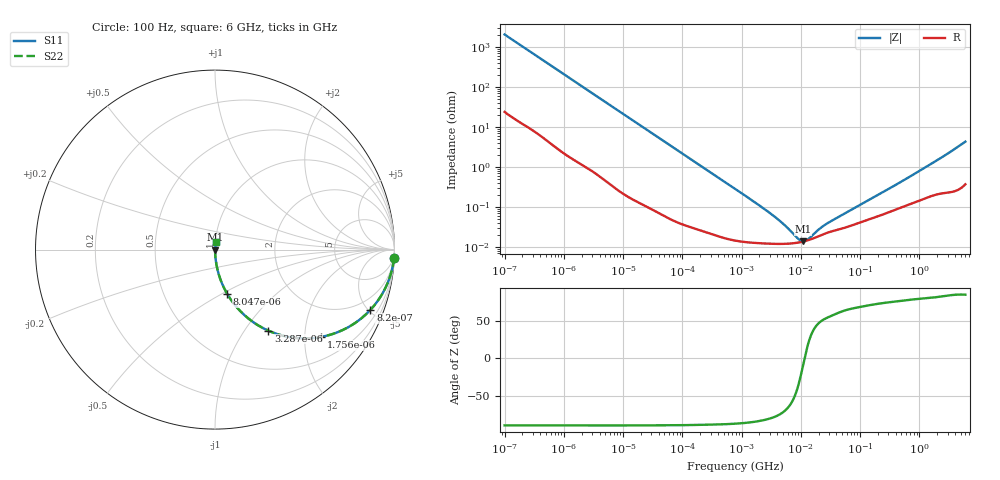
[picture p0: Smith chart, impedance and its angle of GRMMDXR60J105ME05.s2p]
!Murata Part Number: GRMMDXR60J105ME05
!These Parameters are Measured in Series Mode Connection
!Data Generated on Mar 30, 2021
!  o--ll--o
!Port1  Port2
!  o------o
!Operation Temp=25[degC], DC Bias Voltage=0[V]
!Freq. Start=100[Hz] Stop=6[GHz] 401[Steps]
# Hz S RI R 50
!Freq.(Hz) S11(Real) S11(Imag) S21(Real) S21(Imag) S12(Real) S12(Imag) S22(Real) S22(Imag)
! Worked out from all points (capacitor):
!   401 points, 100 Hz to 6 GHz, reference 50 ohm
!   read as one part in series: C = 766 nF near 109 Hz
!   lowest |Z| = 13.7 mohm at 10.87 MHz (marker M1)
!   series resonance near 11.55 MHz, so ESL is about 250 pH
!   S11 on the Smith chart (normalised r, x): 100 Hz: 1, -41; 820 Hz: 1.05, -5.13; 1.756 kHz: 1.03, -2.41; 3.287 kHz: 1.01, -1.29; 8.047 kHz: 1.01, -0.53; 6 GHz: 1.01, +0.09
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100  0.9971 -0.0481  0.00287 0.0481  0.00287 0.0481  0.9971 -0.0481
293  0.9792 -0.1371  0.0208 0.1371  0.0208 0.1371  0.9792 -0.1371
524  0.9389 -0.2339  0.0611 0.2339  0.0611 0.2339  0.9389 -0.2339
820  0.8655 -0.336  0.1345 0.336  0.1345 0.336  0.8655 -0.336
1174  0.7612 -0.4212  0.2388 0.4212  0.2388 0.4212  0.7612 -0.4212
1756  0.5907 -0.4864  0.4093 0.4864  0.4093 0.4864  0.5907 -0.4864
2008  0.5257 -0.494  0.4743 0.494  0.4743 0.494  0.5257 -0.494
3287  0.2966 -0.4513  0.7034 0.4513  0.7034 0.4513  0.2966 -0.4513
5143  0.1492 -0.351  0.8508 0.351  0.8508 0.351  0.1492 -0.351
8047  0.068 -0.2468  0.932 0.2468  0.932 0.2468  0.068 -0.2468
17227  0.0165 -0.1223  0.9835 0.1223  0.9835 0.1223  0.0165 -0.1223
40335  0.00354 -0.0532  0.9965 0.0532  0.9965 0.0532  0.00354 -0.0532
774597  0.000151 -0.00284  0.9998 0.00284  0.9998 0.00284  0.000151 -0.00284
3394479  0.000119 -0.0006  0.9999 0.0006  0.9999 0.0006  0.000119 -0.0006
5311619  0.000119 -0.000331  0.9999 0.000331  0.9999 0.000331  0.000119 -0.000331
9090158  0.000128 -9.2e-05  0.9999 9.2e-05  0.9999 9.2e-05  0.000128 -9.2e-05
1.087309e7  0.000135 -2.28e-05  0.9999 2.28e-05  0.9999 2.28e-05  0.000135 -2.28e-05
1.243624e7  0.000142 2.75e-05  0.9999 -2.75e-05  0.9999 -2.75e-05  0.000142 2.75e-05
1.555665e7  0.000159 0.000109  0.9998 -0.000109  0.9998 -0.000109  0.000159 0.000109
2.911731e7  0.000229 0.000329  0.9998 -0.000329  0.9998 -0.000329  0.000229 0.000329
3.124326e8  0.000751 0.00278  0.9992 -0.00278  0.9992 -0.00278  0.000751 0.00278
6e9  0.00548 0.0425  0.9945 -0.0425  0.9945 -0.0425  0.00548 0.0425
